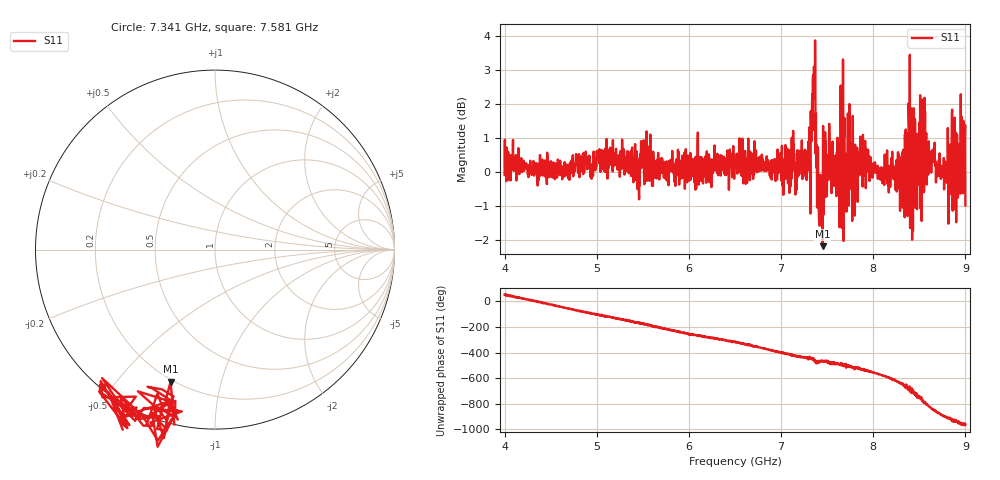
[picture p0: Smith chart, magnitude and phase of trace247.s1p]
! Created with skrf 1.8.0 (http://scikit-rf.org).
# Hz S RI R 50.0
!freq ReS11 ImS11
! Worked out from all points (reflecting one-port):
!   1601 points, 4 GHz to 9 GHz, reference 50 ohm
!   lowest |S11| = -2.2 dB at 7.45 GHz (marker M1), VSWR 7.98, Z = 9.43 - j35.1 ohm
!   phase of S11 starts at 53 deg and turns -1015 deg over the sweep
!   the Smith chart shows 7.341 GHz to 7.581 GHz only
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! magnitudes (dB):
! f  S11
! 4 GHz  -0.1
! 4.625 GHz  -0.2
! 5.25 GHz  -0.1
! 5.875 GHz  -0.1
! 6.5 GHz  0.2
! 7.125 GHz  0.2
! 7.294 GHz  0.7
! 7.347 GHz  2.8
! 7.369 GHz  3.9
! 7.397 GHz  -1.0
! 7.412 GHz  -1.4
! 7.428 GHz  -0.6
! 7.45 GHz  -2.2
! 7.509 GHz  -0.2
! 7.616 GHz  -0.5
! 7.662 GHz  -0.5
! 7.703 GHz  0.3
! 7.75 GHz  0.9
! 8.316 GHz  0.3
! 8.334 GHz  -0.4
! 8.356 GHz  0.6
! 8.375 GHz  -0.9
! 8.447 GHz  1.6
! 8.553 GHz  -0.5
! 8.606 GHz  0.0
! 8.753 GHz  0.0
! 8.972 GHz  0.2
! 9 GHz  -1.0
